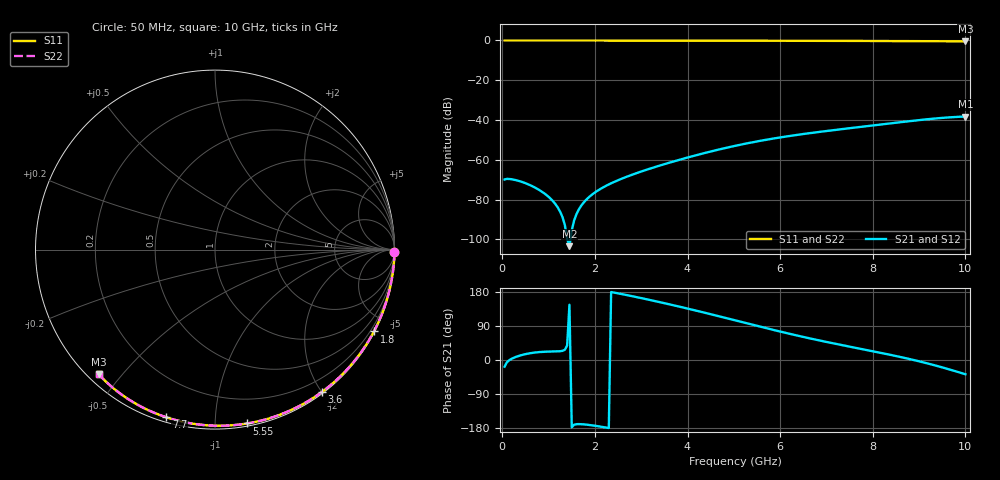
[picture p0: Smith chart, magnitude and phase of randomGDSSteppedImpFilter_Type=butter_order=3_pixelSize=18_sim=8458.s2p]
! freq	dB(S11)	phase(S11)	dB(S12)	phase(S12)
!  dB(S21)	phase(S21)	dB(S22)	phase(S22)
!S-par simulation data
#  GHz  S  DB  R 50
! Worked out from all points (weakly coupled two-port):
!   200 points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, 50 MHz to 10 GHz, reference 50 ohm
!   highest |S21| = -38.25 dB at 10 GHz (marker M1); lowest = -103.4 dB at 1.45 GHz (marker M2)
!   lowest |S11| = -0.4 dB at 10 GHz (marker M3), VSWR 38.90, Z = 1.53 - j21.8 ohm
!   |S11| at or under -10 dB: nowhere
!   |S22| runs from -0.4 to 0.0 dB; largest |S21 - S12| = 0
!   S11 on the Smith chart (normalised r, x): 50 MHz: open; 1.8 GHz: 0.04, -4.13; 3.6 GHz: 0.02, -2.00; 5.55 GHz: 0.02, -1.20; 7.7 GHz: 0.02, -0.75; 10 GHz: 0.03, -0.44
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0.05  -0.00 -0.8  -69.88 -17.5  -69.88 -17.5  -0.00 -0.8
0.1  -0.00 -1.5  -69.57 -5.9  -69.57 -5.9  -0.00 -1.5
0.25  -0.00 -3.8  -69.98 6.0  -69.98 6.0  -0.00 -3.8
0.55  -0.01 -8.4  -72.21 16.8  -72.21 16.8  -0.01 -8.4
0.85  -0.02 -13.0  -75.94 21.3  -75.94 21.3  -0.02 -13.0
1.05  -0.02 -16.0  -79.70 22.3  -79.70 22.3  -0.02 -16.0
1.45  -0.03 -22.0  -103.40 145.7  -103.40 145.7  -0.03 -22.0
1.75  -0.03 -26.5  -81.68 -169.8  -81.68 -169.8  -0.03 -26.5
1.8  -0.03 -27.2  -80.37 -170.3  -80.37 -170.3  -0.03 -27.2
2.05  -0.04 -30.9  -75.62 -174.4  -75.62 -174.4  -0.04 -30.9
2.35  -0.04 -35.3  -71.80 179.3  -71.80 179.3  -0.04 -35.3
2.8  -0.05 -41.9  -67.51 168.5  -67.51 168.5  -0.05 -41.9
3.4  -0.07 -50.4  -62.88 152.7  -62.88 152.7  -0.07 -50.4
3.6  -0.07 -53.2  -61.48 147.2  -61.48 147.2  -0.07 -53.2
4.35  -0.09 -63.6  -56.69 125.4  -56.69 125.4  -0.09 -63.6
5.05  -0.11 -73.0  -52.85 104.0  -52.85 104.0  -0.11 -73.0
5.55  -0.13 -79.5  -50.53 88.6  -50.53 88.6  -0.13 -79.5
6.7  -0.18 -94.0  -46.41 55.4  -46.41 55.4  -0.18 -94.0
7.7  -0.24 -106.2  -43.55 30.4  -43.55 30.4  -0.24 -106.2
8.35  -0.28 -113.8  -41.77 14.4  -41.77 14.4  -0.28 -113.8
9.35  -0.37 -125.5  -39.22 -14.4  -39.22 -14.4  -0.37 -125.4
10  -0.45 -132.9  -38.25 -37.6  -38.25 -37.6  -0.45 -132.9
